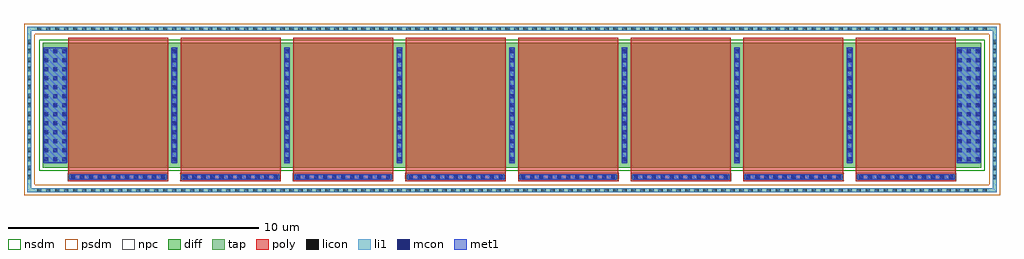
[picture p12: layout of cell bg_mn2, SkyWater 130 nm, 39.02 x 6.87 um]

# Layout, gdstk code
import gdstk
lib = gdstk.Library(unit=1e-6, precision=1e-09)
def R(c, l, rs):  # rectangles x0, y0, x1, y1
    for r in rs: c.add(gdstk.rectangle(r[:2], r[2:], *l))
def A(c, l, x, y, w, h, nx, ny, dx, dy):  # array of equal rectangles
    R(c, l, [(x+i*dx, y+j*dy, x+i*dx+w, y+j*dy+h) for i in range(nx) for j in range(ny)])
def P(c, l, *ps):  # polygons
    for p in ps: c.add(gdstk.Polygon(p, *l))
diff = (65, 20)
tap = (65, 44)
poly = (66, 20)
licon = (66, 44)
li1 = (67, 20)
mcon = (67, 44)
met1 = (68, 20)
nsdm = (93, 44)
psdm = (94, 20)
npc = (95, 20)

bg_mn2 = lib.new_cell('bg_mn2')
R(bg_mn2, diff, [(0,0,37.54,5)])
P(bg_mn2, tap, [(-0.615,-0.98),(-0.615,5.47),(-0.445,5.47),(-0.445,-0.81),(37.985,-0.81),(37.985,5.47),(-0.615,5.47),(-0.615,5.64),(38.155,5.64),(38.155,-0.98)])
A(bg_mn2, poly, 1.02, -0.53, 4, 0.33, 8, 1, 4.5, 0)
A(bg_mn2, poly, 1.02, -0.2, 4, 5.4, 8, 1, 4.5, 0)
A(bg_mn2, licon, -0.215, -0.98, 0.17, 0.17, 106, 2, 0.36, 6.45)
A(bg_mn2, licon, -0.615, -0.455, 0.17, 0.17, 1, 16, 0, 0.36)
A(bg_mn2, licon, 37.985, -0.455, 0.17, 0.17, 1, 16, 0, 0.36)
A(bg_mn2, licon, 1.135, -0.45, 0.17, 0.17, 11, 1, 0.36, 0)
A(bg_mn2, licon, 5.635, -0.45, 0.17, 0.17, 11, 1, 0.36, 0)
A(bg_mn2, licon, 10.135, -0.45, 0.17, 0.17, 11, 1, 0.36, 0)
A(bg_mn2, licon, 14.635, -0.45, 0.17, 0.17, 11, 1, 0.36, 0)
A(bg_mn2, licon, 19.135, -0.45, 0.17, 0.17, 11, 1, 0.36, 0)
A(bg_mn2, licon, 23.635, -0.45, 0.17, 0.17, 11, 1, 0.36, 0)
A(bg_mn2, licon, 28.135, -0.45, 0.17, 0.17, 11, 1, 0.36, 0)
A(bg_mn2, licon, 32.635, -0.45, 0.17, 0.17, 11, 1, 0.36, 0)
A(bg_mn2, licon, 0.065, 0.255, 0.17, 0.17, 3, 13, 0.36, 0.36)
A(bg_mn2, licon, 5.185, 0.255, 0.17, 0.17, 7, 13, 4.5, 0.36)
A(bg_mn2, licon, 36.585, 0.255, 0.17, 0.17, 3, 13, 0.36, 0.36)
A(bg_mn2, li1, 1.055, -0.45, 3.93, 0.17, 8, 1, 4.5, 0)
A(bg_mn2, li1, 5.185, 0.175, 0.17, 4.65, 7, 1, 4.5, 0)
R(bg_mn2, li1, [(0.065,0.175,0.955,4.825), (36.585,0.175,37.475,4.825)])
P(bg_mn2, li1, [(-0.615,-0.98),(-0.615,5.47),(-0.445,5.47),(-0.445,-0.81),(37.985,-0.81),(37.985,5.47),(-0.615,5.47),(-0.615,5.64),(38.155,5.64),(38.155,-0.98)])
A(bg_mn2, mcon, 1.135, -0.45, 0.17, 0.17, 11, 1, 0.36, 0)
A(bg_mn2, mcon, 5.635, -0.45, 0.17, 0.17, 11, 1, 0.36, 0)
A(bg_mn2, mcon, 10.135, -0.45, 0.17, 0.17, 11, 1, 0.36, 0)
A(bg_mn2, mcon, 14.635, -0.45, 0.17, 0.17, 11, 1, 0.36, 0)
A(bg_mn2, mcon, 19.135, -0.45, 0.17, 0.17, 11, 1, 0.36, 0)
A(bg_mn2, mcon, 23.635, -0.45, 0.17, 0.17, 11, 1, 0.36, 0)
A(bg_mn2, mcon, 28.135, -0.45, 0.17, 0.17, 11, 1, 0.36, 0)
A(bg_mn2, mcon, 32.635, -0.45, 0.17, 0.17, 11, 1, 0.36, 0)
A(bg_mn2, mcon, 0.065, 0.255, 0.17, 0.17, 3, 13, 0.36, 0.36)
A(bg_mn2, mcon, 5.185, 0.255, 0.17, 0.17, 7, 13, 4.5, 0.36)
A(bg_mn2, mcon, 36.585, 0.255, 0.17, 0.17, 3, 13, 0.36, 0.36)
A(bg_mn2, met1, 1.075, -0.48, 3.89, 0.23, 8, 1, 4.5, 0)
A(bg_mn2, met1, 5.155, 0.195, 0.23, 4.61, 7, 1, 4.5, 0)
R(bg_mn2, met1, [(0.035,0.195,0.985,4.805), (36.555,0.195,37.505,4.805)])
R(bg_mn2, nsdm, [(-0.125,-0.125,37.665,5.125)])
P(bg_mn2, psdm, [(-0.74,-1.105),(-0.74,5.345),(-0.32,5.345),(-0.32,-0.685),(37.86,-0.685),(37.86,5.345),(-0.74,5.345),(-0.74,5.765),(38.28,5.765),(38.28,-1.105)])
A(bg_mn2, npc, 1.01, -0.54, 4.02, 0.35, 8, 1, 4.5, 0)

lib.write_gds('bg_mn2.gds')
